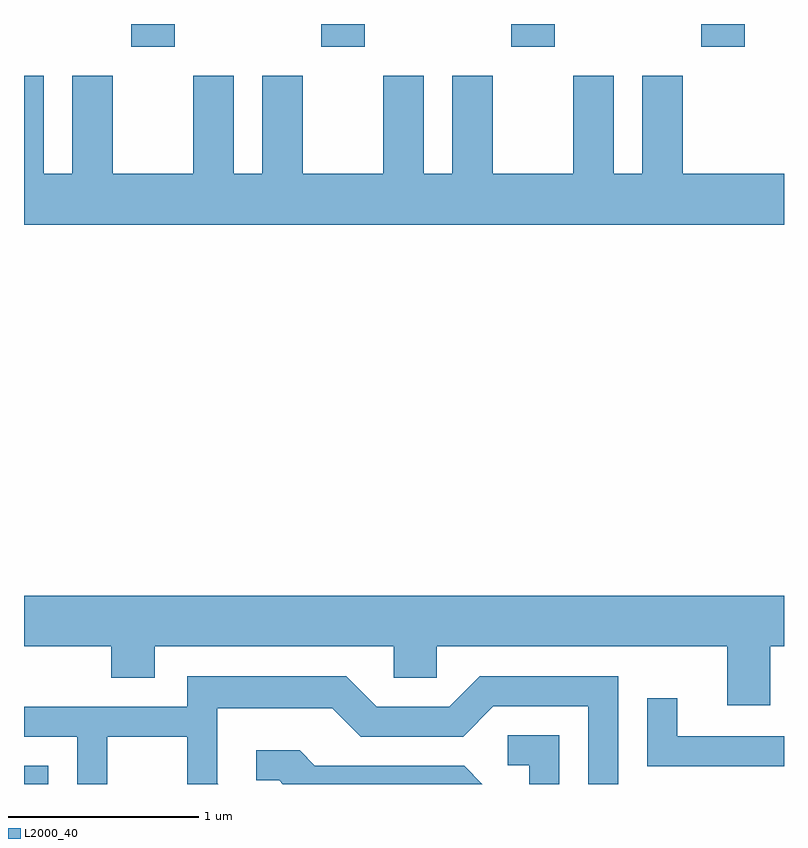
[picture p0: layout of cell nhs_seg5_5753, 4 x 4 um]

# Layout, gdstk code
import gdstk
lib = gdstk.Library(unit=1e-6, precision=1e-09)
def R(c, l, rs):  # rectangles x0, y0, x1, y1
    for r in rs: c.add(gdstk.rectangle(r[:2], r[2:], *l))
def A(c, l, x, y, w, h, nx, ny, dx, dy):  # array of equal rectangles
    R(c, l, [(x+i*dx, y+j*dy, x+i*dx+w, y+j*dy+h) for i in range(nx) for j in range(ny)])
def P(c, l, *ps):  # polygons
    for p in ps: c.add(gdstk.Polygon(p, *l))
L2000_40 = (2000, 40)

nhs_seg5_5753 = lib.new_cell('nhs_seg5_5753')
A(nhs_seg5_5753, L2000_40, 356.176, 1459.951, 0.228, 0.121, 4, 1, 1, 0)
R(nhs_seg5_5753, L2000_40, [(355.611,1456.072,355.739,1456.169)])
P(nhs_seg5_5753, L2000_40, [(359.611,1459.284),(359.079,1459.284),(359.079,1459.799),(358.866,1459.799),(358.866,1459.284),(358.714,1459.284),(358.714,1459.799),(358.501,1459.799),(358.501,1459.284),(358.079,1459.284),(358.079,1459.799),(357.866,1459.799),(357.866,1459.284),(357.714,1459.284),(357.714,1459.799),(357.501,1459.799),(357.501,1459.284),(357.079,1459.284),(357.079,1459.799),(356.866,1459.799),(356.866,1459.284),(356.714,1459.284),(356.714,1459.799),(356.501,1459.799),(356.501,1459.284),(356.079,1459.284),(356.079,1459.799),(355.866,1459.799),(355.866,1459.284),(355.714,1459.284),(355.714,1459.799),(355.611,1459.799),(355.611,1459.016),(359.611,1459.016)],
  [(359.539,1456.796),(359.611,1456.796),(359.611,1457.064),(355.611,1457.064),(355.611,1456.796),(356.071,1456.796),(356.071,1456.631),(356.299,1456.631),(356.299,1456.796),(357.556,1456.796),(357.556,1456.631),(357.784,1456.631),(357.784,1456.796),(359.311,1456.796),(359.311,1456.486),(359.539,1456.486)],
  [(356.049,1456.321),(356.471,1456.321),(356.471,1456.072),(356.634,1456.072),(356.629,1456.077),(356.629,1456.471),(357.234,1456.471),(357.384,1456.321),(357.922,1456.321),(358.082,1456.481),(358.581,1456.481),(358.581,1456.072),(358.739,1456.072),(358.739,1456.639),(358.009,1456.639),(357.849,1456.479),(357.467,1456.479),(357.307,1456.639),(356.471,1456.639),(356.471,1456.479),(355.611,1456.479),(355.611,1456.321),(355.891,1456.321),(355.891,1456.072),(356.049,1456.072)],
  [(359.611,1456.324),(359.049,1456.324),(359.049,1456.523),(358.891,1456.523),(358.891,1456.166),(359.611,1456.166)],
  [(358.429,1456.329),(358.158,1456.329),(358.158,1456.171),(358.271,1456.171),(358.271,1456.072),(358.429,1456.072)],
  [(357.927,1456.169),(357.142,1456.169),(357.062,1456.249),(356.833,1456.249),(356.833,1456.091),(356.954,1456.091),(356.973,1456.072),(358.024,1456.072)])

lib.write_gds('nhs_seg5_5753.gds')
